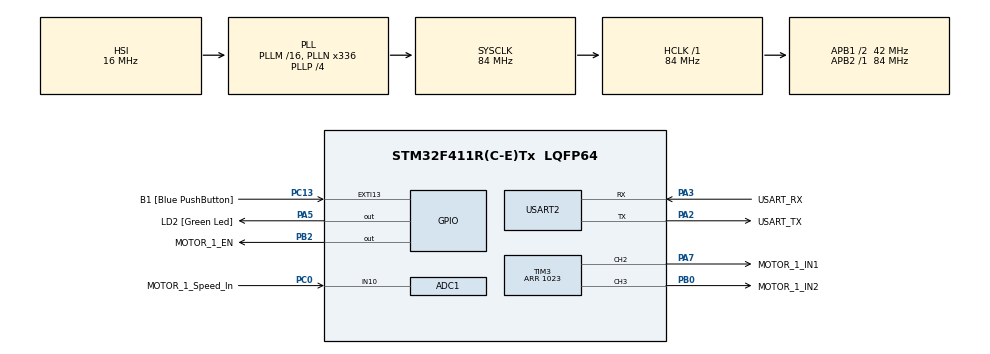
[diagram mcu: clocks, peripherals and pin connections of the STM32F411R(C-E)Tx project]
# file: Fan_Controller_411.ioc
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ADC1.Channel-0\#ChannelRegularConversion=ADC_CHANNEL_10
ADC1.ContinuousConvMode=ENABLE
ADC1.NbrOfConversionFlag=1
ADC1.Rank-0\#ChannelRegularConversion=1
ADC1.Resolution=ADC_RESOLUTION_10B
ADC1.SamplingTime-0\#ChannelRegularConversion=ADC_SAMPLETIME_3CYCLES
ADC1.master=1
Mcu.Family=STM32F4
Mcu.Name=STM32F411R(C-E)Tx
Mcu.Package=LQFP64
NVIC.PriorityGroup=NVIC_PRIORITYGROUP_0
PA13.GPIO_Label=TMS
PA13.Mode=Serial_Wire
PA13.Signal=SYS_JTMS-SWDIO
PA14.GPIO_Label=TCK
PA14.Mode=Serial_Wire
PA14.Signal=SYS_JTCK-SWCLK
PA2.GPIO_Label=USART_TX
PA2.Mode=Asynchronous
PA2.Signal=USART2_TX
PA3.GPIO_Label=USART_RX
PA3.Mode=Asynchronous
PA3.Signal=USART2_RX
PA5.GPIO_Label=LD2 [Green Led]
PA5.Signal=GPIO_Output
PA7.GPIO_Label=MOTOR_1_IN1
PA7.GPIO_PuPd=GPIO_PULLUP
PA7.Signal=S_TIM3_CH2
PB0.GPIO_Label=MOTOR_1_IN2
PB0.GPIO_PuPd=GPIO_PULLUP
PB0.Signal=S_TIM3_CH3
PB2.GPIO_Label=MOTOR_1_EN
PB2.GPIO_PuPd=GPIO_PULLUP
PB2.Signal=GPIO_Output
PB3.GPIO_Label=SWO
PB3.Signal=SYS_JTDO-SWO
PC0.GPIO_Label=MOTOR_1_Speed_In
PC0.Signal=ADCx_IN10
PC13-ANTI_TAMP.GPIO_Label=B1 [Blue PushButton]
PC13-ANTI_TAMP.GPIO_ModeDefaultEXTI=GPIO_MODE_IT_FALLING
PC13-ANTI_TAMP.Signal=GPXTI13
PC14-OSC32_IN.Mode=LSE-External-Oscillator
PC14-OSC32_IN.Signal=RCC_OSC32_IN
PC15-OSC32_OUT.Mode=LSE-External-Oscillator
PC15-OSC32_OUT.Signal=RCC_OSC32_OUT
PH0\ -\ OSC_IN.Mode=HSE-External-Clock-Source
PH0\ -\ OSC_IN.Signal=RCC_OSC_IN
PH1\ -\ OSC_OUT.Mode=HSE-External-Clock-Source
PH1\ -\ OSC_OUT.Signal=RCC_OSC_OUT
ProjectManager.HeapSize=0x200
ProjectManager.StackSize=0x400
ProjectManager.TargetToolchain=Makefile
RCC.48MHZClocksFreq_Value=84000000
RCC.AHBFreq_Value=84000000
RCC.APB1CLKDivider=RCC_HCLK_DIV2
RCC.APB1Freq_Value=42000000
RCC.APB1TimFreq_Value=84000000
RCC.APB2Freq_Value=84000000
RCC.APB2TimFreq_Value=84000000
RCC.CortexFreq_Value=84000000
RCC.FLatency-AdvancedSettings=FLASH_LATENCY_2
RCC.HCLKFreq_Value=84000000
RCC.HSE_VALUE=8000000
RCC.HSI_VALUE=16000000
RCC.PLLN=336
RCC.PLLP=RCC_PLLP_DIV4
RCC.SYSCLKFreq_VALUE=84000000
RCC.SYSCLKSource=RCC_SYSCLKSOURCE_PLLCLK
RCC.VCOOutputFreq_Value=336000000
SH.ADCx_IN10.0=ADC1_IN10,IN10
SH.S_TIM3_CH2.0=TIM3_CH2,PWM Generation2 CH2
SH.S_TIM3_CH3.0=TIM3_CH3,PWM Generation3 CH3
TIM3.AutoReloadPreload=TIM_AUTORELOAD_PRELOAD_ENABLE
TIM3.Channel-PWM\ Generation2\ CH2=TIM_CHANNEL_2
TIM3.Channel-PWM\ Generation3\ CH3=TIM_CHANNEL_3
TIM3.Period=1023
USART2.VirtualMode=VM_ASYNC
VP_TIM3_VS_ClockSourceINT.Mode=Internal
board=NUCLEO-F411RE

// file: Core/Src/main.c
/* USER CODE BEGIN Header */
/**
  ******************************************************************************
  * @file           : main.c
  * @brief          : Main program body
  ******************************************************************************
  * @attention
  *
  * <h2><center>&copy; Copyright (c) 2021 STMicroelectronics.
  * All rights reserved.</center></h2>
  *
  * This software component is licensed by ST under BSD 3-Clause license,
  * the "License"; You may not use this file except in compliance with the
  * License. You may obtain a copy of the License at:
  *                        opensource.org/licenses/BSD-3-Clause
  *
  ******************************************************************************
  */
/* USER CODE END Header */
#include "main.h"

/* USER CODE BEGIN Includes */
#include <stdio.h>
#include <string.h>
/* USER CODE END Includes */

ADC_HandleTypeDef hadc1;

TIM_HandleTypeDef htim3;

UART_HandleTypeDef huart2;

void SystemClock_Config(void);
static void MX_GPIO_Init(void);
static void MX_ADC1_Init(void);
static void MX_USART2_UART_Init(void);
static void MX_TIM3_Init(void);

int main(void)
{

  /* MCU Configuration--------------------------------------------------------*/

  /* Reset of all peripherals, Initializes the Flash interface and the Systick. */
  HAL_Init();

  /* Configure the system clock */
  SystemClock_Config();

  /* Initialize all configured peripherals */
  MX_GPIO_Init();
  MX_ADC1_Init();
  MX_USART2_UART_Init();
  MX_TIM3_Init();
  /* USER CODE BEGIN 2 */
  HAL_GPIO_WritePin(MOTOR_1_EN_GPIO_Port, MOTOR_1_EN_Pin, GPIO_PIN_SET);
  HAL_TIM_PWM_Start(&htim3,TIM_CHANNEL_2);
  HAL_TIM_PWM_Start(&htim3,TIM_CHANNEL_3);
  uint32_t motor_speed;
  uint8_t motor_1_direction = 0; //0 FWD 1 REV
  char msg[10];
  /* USER CODE END 2 */

  /* Infinite loop */
  while (1)
  {

    /* USER CODE BEGIN 3 */
    HAL_ADC_Start(&hadc1);
    HAL_ADC_PollForConversion(&hadc1, HAL_MAX_DELAY);
    motor_speed = HAL_ADC_GetValue(&hadc1);
    sprintf(msg, "%lu\r\n",motor_speed);
    HAL_UART_Transmit(&huart2, (u_int8_t*)msg, strlen(msg),HAL_MAX_DELAY);
    if(motor_1_direction){
      __HAL_TIM_SET_COMPARE(&htim3, TIM_CHANNEL_3,motor_speed);
      __HAL_TIM_SET_COMPARE(&htim3, TIM_CHANNEL_2,0);
    }else{
      __HAL_TIM_SET_COMPARE(&htim3, TIM_CHANNEL_3,0);
      __HAL_TIM_SET_COMPARE(&htim3, TIM_CHANNEL_2,motor_speed);
    }

  }
  /* USER CODE END 3 */
}

void SystemClock_Config(void)
{
  RCC_OscInitTypeDef RCC_OscInitStruct = {0};
  RCC_ClkInitTypeDef RCC_ClkInitStruct = {0};

  /** Configure the main internal regulator output voltage
  */
  __HAL_RCC_PWR_CLK_ENABLE();
  __HAL_PWR_VOLTAGESCALING_CONFIG(PWR_REGULATOR_VOLTAGE_SCALE1);
  /** Initializes the RCC Oscillators according to the specified parameters
  * in the RCC_OscInitTypeDef structure.
  */
  RCC_OscInitStruct.OscillatorType = RCC_OSCILLATORTYPE_HSI;
  RCC_OscInitStruct.HSIState = RCC_HSI_ON;
  RCC_OscInitStruct.HSICalibrationValue = RCC_HSICALIBRATION_DEFAULT;
  RCC_OscInitStruct.PLL.PLLState = RCC_PLL_ON;
  RCC_OscInitStruct.PLL.PLLSource = RCC_PLLSOURCE_HSI;
  RCC_OscInitStruct.PLL.PLLM = 16;
  RCC_OscInitStruct.PLL.PLLN = 336;
  RCC_OscInitStruct.PLL.PLLP = RCC_PLLP_DIV4;
  RCC_OscInitStruct.PLL.PLLQ = 4;
  if (HAL_RCC_OscConfig(&RCC_OscInitStruct) != HAL_OK)
  {
    Error_Handler();
  }
  /** Initializes the CPU, AHB and APB buses clocks
  */
  RCC_ClkInitStruct.ClockType = RCC_CLOCKTYPE_HCLK|RCC_CLOCKTYPE_SYSCLK
                              |RCC_CLOCKTYPE_PCLK1|RCC_CLOCKTYPE_PCLK2;
  RCC_ClkInitStruct.SYSCLKSource = RCC_SYSCLKSOURCE_PLLCLK;
  RCC_ClkInitStruct.AHBCLKDivider = RCC_SYSCLK_DIV1;
  RCC_ClkInitStruct.APB1CLKDivider = RCC_HCLK_DIV2;
  RCC_ClkInitStruct.APB2CLKDivider = RCC_HCLK_DIV1;

  if (HAL_RCC_ClockConfig(&RCC_ClkInitStruct, FLASH_LATENCY_2) != HAL_OK)
  {
    Error_Handler();
  }
}

static void MX_ADC1_Init(void)
{

  ADC_ChannelConfTypeDef sConfig = {0};

  /** Configure the global features of the ADC (Clock, Resolution, Data Alignment and number of conversion)
  */
  hadc1.Instance = ADC1;
  hadc1.Init.ClockPrescaler = ADC_CLOCK_SYNC_PCLK_DIV4;
  hadc1.Init.Resolution = ADC_RESOLUTION_10B;
  hadc1.Init.ScanConvMode = DISABLE;
  hadc1.Init.ContinuousConvMode = ENABLE;
  hadc1.Init.DiscontinuousConvMode = DISABLE;
  hadc1.Init.ExternalTrigConvEdge = ADC_EXTERNALTRIGCONVEDGE_NONE;
  hadc1.Init.ExternalTrigConv = ADC_SOFTWARE_START;
  hadc1.Init.DataAlign = ADC_DATAALIGN_RIGHT;
  hadc1.Init.NbrOfConversion = 1;
  hadc1.Init.DMAContinuousRequests = DISABLE;
  hadc1.Init.EOCSelection = ADC_EOC_SINGLE_CONV;
  if (HAL_ADC_Init(&hadc1) != HAL_OK)
  {
    Error_Handler();
  }
  /** Configure for the selected ADC regular channel its corresponding rank in the sequencer and its sample time.
  */
  sConfig.Channel = ADC_CHANNEL_10;
  sConfig.Rank = 1;
  sConfig.SamplingTime = ADC_SAMPLETIME_3CYCLES;
  if (HAL_ADC_ConfigChannel(&hadc1, &sConfig) != HAL_OK)
  {
    Error_Handler();
  }

}

static void MX_TIM3_Init(void)
{

  TIM_ClockConfigTypeDef sClockSourceConfig = {0};
  TIM_MasterConfigTypeDef sMasterConfig = {0};
  TIM_OC_InitTypeDef sConfigOC = {0};

  htim3.Instance = TIM3;
  htim3.Init.Prescaler = 0;
  htim3.Init.CounterMode = TIM_COUNTERMODE_UP;
  htim3.Init.Period = 1023;
  htim3.Init.ClockDivision = TIM_CLOCKDIVISION_DIV1;
  htim3.Init.AutoReloadPreload = TIM_AUTORELOAD_PRELOAD_ENABLE;
  if (HAL_TIM_Base_Init(&htim3) != HAL_OK)
  {
    Error_Handler();
  }
  sClockSourceConfig.ClockSource = TIM_CLOCKSOURCE_INTERNAL;
  if (HAL_TIM_ConfigClockSource(&htim3, &sClockSourceConfig) != HAL_OK)
  {
    Error_Handler();
  }
  if (HAL_TIM_PWM_Init(&htim3) != HAL_OK)
  {
    Error_Handler();
  }
  sMasterConfig.MasterOutputTrigger = TIM_TRGO_RESET;
  sMasterConfig.MasterSlaveMode = TIM_MASTERSLAVEMODE_DISABLE;
  if (HAL_TIMEx_MasterConfigSynchronization(&htim3, &sMasterConfig) != HAL_OK)
  {
    Error_Handler();
  }
  sConfigOC.OCMode = TIM_OCMODE_PWM1;
  sConfigOC.Pulse = 0;
  sConfigOC.OCPolarity = TIM_OCPOLARITY_HIGH;
  sConfigOC.OCFastMode = TIM_OCFAST_DISABLE;
  if (HAL_TIM_PWM_ConfigChannel(&htim3, &sConfigOC, TIM_CHANNEL_2) != HAL_OK)
  {
    Error_Handler();
  }
  if (HAL_TIM_PWM_ConfigChannel(&htim3, &sConfigOC, TIM_CHANNEL_3) != HAL_OK)
  {
    Error_Handler();
  }
  HAL_TIM_MspPostInit(&htim3);

}

static void MX_USART2_UART_Init(void)
{

  huart2.Instance = USART2;
  huart2.Init.BaudRate = 115200;
  huart2.Init.WordLength = UART_WORDLENGTH_8B;
  huart2.Init.StopBits = UART_STOPBITS_1;
  huart2.Init.Parity = UART_PARITY_NONE;
  huart2.Init.Mode = UART_MODE_TX_RX;
  huart2.Init.HwFlowCtl = UART_HWCONTROL_NONE;
  huart2.Init.OverSampling = UART_OVERSAMPLING_16;
  if (HAL_UART_Init(&huart2) != HAL_OK)
  {
    Error_Handler();
  }

}

static void MX_GPIO_Init(void)
{
  GPIO_InitTypeDef GPIO_InitStruct = {0};

  /* GPIO Ports Clock Enable */
  __HAL_RCC_GPIOC_CLK_ENABLE();
  __HAL_RCC_GPIOH_CLK_ENABLE();
  __HAL_RCC_GPIOA_CLK_ENABLE();
  __HAL_RCC_GPIOB_CLK_ENABLE();

  /*Configure GPIO pin Output Level */
  HAL_GPIO_WritePin(LD2_GPIO_Port, LD2_Pin, GPIO_PIN_RESET);

  /*Configure GPIO pin Output Level */
  HAL_GPIO_WritePin(MOTOR_1_EN_GPIO_Port, MOTOR_1_EN_Pin, GPIO_PIN_RESET);

  /*Configure GPIO pin : B1_Pin */
  GPIO_InitStruct.Pin = B1_Pin;
  GPIO_InitStruct.Mode = GPIO_MODE_IT_FALLING;
  GPIO_InitStruct.Pull = GPIO_NOPULL;
  HAL_GPIO_Init(B1_GPIO_Port, &GPIO_InitStruct);

  /*Configure GPIO pin : LD2_Pin */
  GPIO_InitStruct.Pin = LD2_Pin;
  GPIO_InitStruct.Mode = GPIO_MODE_OUTPUT_PP;
  GPIO_InitStruct.Pull = GPIO_NOPULL;
  GPIO_InitStruct.Speed = GPIO_SPEED_FREQ_LOW;
  HAL_GPIO_Init(LD2_GPIO_Port, &GPIO_InitStruct);

  /*Configure GPIO pin : MOTOR_1_EN_Pin */
  GPIO_InitStruct.Pin = MOTOR_1_EN_Pin;
  GPIO_InitStruct.Mode = GPIO_MODE_OUTPUT_PP;
  GPIO_InitStruct.Pull = GPIO_PULLUP;
  GPIO_InitStruct.Speed = GPIO_SPEED_FREQ_LOW;
  HAL_GPIO_Init(MOTOR_1_EN_GPIO_Port, &GPIO_InitStruct);

}

void Error_Handler(void)
{
  __disable_irq();
  while (1)
  {
  }
}

/************************ (C) COPYRIGHT STMicroelectronics *****END OF FILE****/
